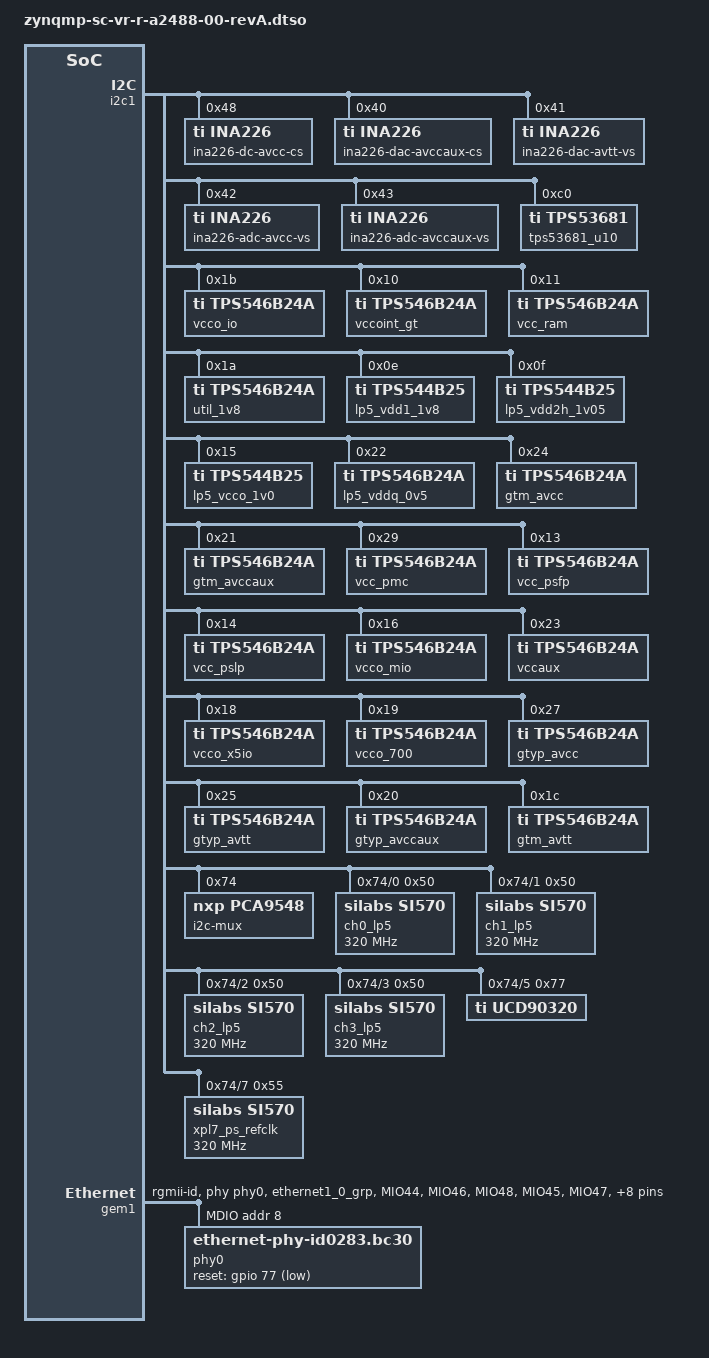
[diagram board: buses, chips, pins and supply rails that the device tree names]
// SPDX-License-Identifier: GPL-2.0
/*
 * dts file for Xilinx ZynqMP VR-R-A2488-00-revA
 *
 * Copyright (C) 2024, Advanced Micro Devices, Inc.
 *
 * Michal Simek <michal.simek@amd.com>
 */

#include <dt-bindings/gpio/gpio.h>
#include <dt-bindings/phy/phy.h>
#include <dt-bindings/pinctrl/pinctrl-zynqmp.h>


/dts-v1/;
/plugin/;

/* Compatible with zynqmp-sm-k24-revA.dts */

&{/} {
	compatible = "xlnx,zynqmp-sc-vr-r-a2488-00-revA",
		     "xlnx,zynqmp-sc-vr-r-a2488-00", "xlnx,zynqmp";
	model = "ZynqMP SC VR-R-A2488-00 revA";
};

&i2c1 { /* i2c_main bus */
	#address-cells = <1>;
	#size-cells = <0>;

	/* J181 for enable/disable */
	/* u486 eeprom at 0x54 described in sc-revB - WP protection via BOARD_EEPROM_WP - u507 - ftdi */

	/* J176 - jumper for enabling INA226_PMBUS */
	dac_avcc_cs: ina226@48 { /* u488 */
		compatible = "ti,ina226";
		#io-channel-cells = <1>;
		label = "ina226-dc-avcc-cs";
		reg = <0x48>;
		shunt-resistor = <1000>; /* R689 */
	};
	dac_avccaux_cs: ina226@40 { /* u489 */
		compatible = "ti,ina226";
		#io-channel-cells = <1>;
		label = "ina226-dac-avccaux-cs";
		reg = <0x40>;
		shunt-resistor = <1000>; /* R407 */
	};
	dac_avtt_vs: ina226@41 { /* u490 */
		compatible = "ti,ina226";
		#io-channel-cells = <1>;
		label = "ina226-dac-avtt-vs";
		reg = <0x41>;
		shunt-resistor = <1000>; /* R411 */
	};
	adc_avcc_vs: ina226@42 { /* u491 */
		compatible = "ti,ina226";
		#io-channel-cells = <1>;
		label = "ina226-adc-avcc-vs";
		reg = <0x42>;
		shunt-resistor = <1000>; /* R688 */
	};
	adc_avccaux_vs: ina226@43 { /* u492 */
		compatible = "ti,ina226";
		#io-channel-cells = <1>;
		label = "ina226-adc-avccaux-vs";
		reg = <0x43>;
		shunt-resistor = <1000>; /* R408 */
	};

	/* J178 - jumper for enabling PMBUS */
	/* J180 - external connector */
	/* J38 - SAMTEC connector */
	tps53681_u10: tps53681@c0 { /* u10 - FIXME above 7 bit */
		compatible = "ti,tps53681", "ti,tps53679";
		reg = <0xc0>;
		/* vcc_io_soc, vcc_fpd */
	};
	vcco_io: regulator@1b { /* u27 */
		compatible = "ti,tps546b24a";
		reg = <0x1b>;
	};
	vccoint_gt: regulator@10 { /* u22 */
		compatible = "ti,tps546b24a";
		reg = <0x10>;
	};
	vcc_ram: regulator@11 { /* u29 */
		compatible = "ti,tps546b24a";
		reg = <0x11>;
	};
	util_1v8: regulator@1a { /* u436 */
		compatible = "ti,tps546b24a";
		reg = <0x1a>;
	};
	lp5_vdd1_1v8: regulator@e { /* u448 */
		compatible = "ti,tps544b25";
		reg = <0xe>;
	};
	lp5_vdd2h_1v05: regulator@f { /* u449 */
		compatible = "ti,tps544b25";
		reg = <0xf>;
	};
	lp5_vcco_1v0: regulator@15 { /* u452 */
		compatible = "ti,tps544b25";
		reg = <0x15>;
	};
	lp5_vddq_0v5: regulator@22 { /* u453 */
		compatible = "ti,tps546b24a";
		reg = <0x22>;
	};
	gtm_avcc: regulator@24 { /* u8 */
		compatible = "ti,tps546b24a";
		reg = <0x24>;
	};
	gtm_avccaux: regulator@21 { /* u9 */
		compatible = "ti,tps546b24a";
		reg = <0x21>;
	};


	/* J177 - jumper for enabling LEFT_PMBUS */
	vcc_pmc: regulator@29 { /* u28 */
		compatible = "ti,tps546b24a";
		reg = <0x29>;
	};
	vcc_psfp: regulator@13 { /* u20 */
		compatible = "ti,tps546b24a";
		reg = <0x13>;
	};
	vcc_pslp: regulator@14 { /* u21 */
		compatible = "ti,tps546b24a";
		reg = <0x14>;
	};
	vcco_mio: regulator@16 { /* u30 */
		compatible = "ti,tps546b24a";
		reg = <0x16>;
	};
	vccaux: regulator@23 { /* u24 */
		compatible = "ti,tps546b24a";
		reg = <0x23>;
	};
	vcco_x5io: regulator@18 { /* u26 */
		compatible = "ti,tps546b24a";
		reg = <0x18>;
	};
	vcco_700: regulator@19 { /* u25 */
		compatible = "ti,tps546b24a";
		reg = <0x19>;
	};
	gtyp_avcc: regulator@27 { /* u6 */
		compatible = "ti,tps546b24a";
		reg = <0x27>;
	};
	gtyp_avtt: regulator@25 { /* u23 */
		compatible = "ti,tps546b24a";
		reg = <0x25>;
	};
	gtyp_avccaux: regulator@20 { /* u7 */
		compatible = "ti,tps546b24a";
		reg = <0x20>;
	};
	gtm_avtt: regulator@1c { /* u19 */
		compatible = "ti,tps546b24a";
		reg = <0x1c>;
	};

	i2c-mux@75 { /* u483 */
		compatible = "nxp,pca9548";
		#address-cells = <1>;
		#size-cells = <0>;
		reg = <0x74>;
		/* reset-gpios = TEENSY_I2C_MUX_RST_B NC */
		i2c@0 { /* I2C_CH0_LPDDR5 */
			#address-cells = <1>;
			#size-cells = <0>;
			reg = <0>;
			ch0_lp5: clock-generator@50 { /* u456, OE via J165 */
				#clock-cells = <0>;
				compatible = "silabs,si570";
				reg = <0x50>;
				temperature-stability = <50>;
				factory-fout = <320000000>;
				clock-frequency = <320000000>;
				clock-output-names = "si570_ch0_lp5";
				silabs,skip-recall;
			};
		};
		i2c@1 { /* I2C_CH1_LPDDR5 */
			#address-cells = <1>;
			#size-cells = <0>;
			reg = <1>;
			ch1_lp5: clock-generator@50 { /* u457, OE via J167 */
				#clock-cells = <0>;
				compatible = "silabs,si570";
				reg = <0x50>;
				temperature-stability = <50>;
				factory-fout = <320000000>;
				clock-frequency = <320000000>;
				clock-output-names = "si570_ch1_lp5";
				silabs,skip-recall;
			};
		};
		i2c@2 { /* I2C_CH2_LPDDR5 */
			#address-cells = <1>;
			#size-cells = <0>;
			reg = <2>;
			ch2_lp5: clock-generator@50 { /* u459, OE via J169 */
				#clock-cells = <0>;
				compatible = "silabs,si570";
				reg = <0x50>;
				temperature-stability = <50>;
				factory-fout = <320000000>;
				clock-frequency = <320000000>;
				clock-output-names = "si570_ch2_lp5";
				silabs,skip-recall;
			};
		};
		i2c@3 { /* I2C_CH3_LPDDR5 */
			#address-cells = <1>;
			#size-cells = <0>;
			reg = <3>;
			ch3_lp5: clock-generator@50 { /* u460, OE via J171 */
				#clock-cells = <0>;
				compatible = "silabs,si570";
				reg = <0x50>;
				temperature-stability = <50>;
				factory-fout = <320000000>;
				clock-frequency = <320000000>;
				clock-output-names = "si570_ch3_lp5";
				silabs,skip-recall;
			};
		};
		i2c@4 { /* SI5518 */
			#address-cells = <1>;
			#size-cells = <0>;
			reg = <4>;
			/* u33@58 */
			/* J163 connector */
		};
		i2c@5 { /* SEQ_PMBUS */
			#address-cells = <1>;
			#size-cells = <0>;
			reg = <5>;
			/* J215 connector */
			ucd90320: power-sequencer@77 { /* u438 */
				compatible = "ti,ucd90320";
				reg = <0x77>;
			};
		};
		i2c@6 { /* NC */
			#address-cells = <1>;
			#size-cells = <0>;
			reg = <6>;
		};
		i2c@7 { /* I2C_VERSAL_REF */
			#address-cells = <1>;
			#size-cells = <0>;
			reg = <7>;
			xpl7_ps_refclk: clock-generator@55 { /* u455, OE via J164 */
				#clock-cells = <0>;
				compatible = "silabs,si570";
				reg = <0x55>;
				temperature-stability = <50>;
				factory-fout = <320000000>;
				clock-frequency = <320000000>;
				clock-output-names = "si570_xpl7_ps_refclk";
				silabs,skip-recall;
			};

		};
	};

	/* J182 - jumper for enabling PMC_I2C */
	/* J183 - jumper for enabling X5IO_L7 */
};

&gem1 { /* gem1 MIO38-49, MDIO MIO50/51 */
	status = "okay";
	phy-mode = "rgmii-id";
	phy-handle = <&phy0>;
	pinctrl-names = "default";
	pinctrl-0 = <&pinctrl_gem1_default>;

	mdio: mdio {
		#address-cells = <1>;
		#size-cells = <0>;

		phy0: ethernet-phy@8 { /* ADI1300 - u500 */
			#phy-cells = <1>;
			compatible = "ethernet-phy-id0283.bc30";
			reg = <8>;
			adi,rx-internal-delay-ps = <2400>;
			adi,tx-internal-delay-ps = <2400>;
			adi,fifo-depth-bits = <8>;
			reset-gpios = <&gpio 77 GPIO_ACTIVE_LOW>;
			reset-assert-us = <10>;
			reset-deassert-us = <5000>;
		};
	};
};

&pinctrl0 { /* required by spec */
	status = "okay";

	pinctrl_gem1_default: gem1-default {
		conf {
			groups = "ethernet1_0_grp";
			slew-rate = <SLEW_RATE_SLOW>;
			power-source = <IO_STANDARD_LVCMOS18>;
		};

		conf-rx {
			pins = "MIO44", "MIO46", "MIO48";
			bias-high-impedance;
			low-power-disable;
		};

		conf-bootstrap {
			pins = "MIO45", "MIO47", "MIO49";
			bias-disable;
			low-power-disable;
		};

		conf-tx {
			pins = "MIO38", "MIO39", "MIO40",
				"MIO41", "MIO42", "MIO43";
			bias-disable;
			low-power-enable;
		};

		conf-mdio {
			groups = "mdio1_0_grp";
			slew-rate = <SLEW_RATE_SLOW>;
			power-source = <IO_STANDARD_LVCMOS18>;
			bias-disable;
		};

		mux-mdio {
			function = "mdio1";
			groups = "mdio1_0_grp";
		};

		mux {
			function = "ethernet1";
			groups = "ethernet1_0_grp";
		};
	};
};
